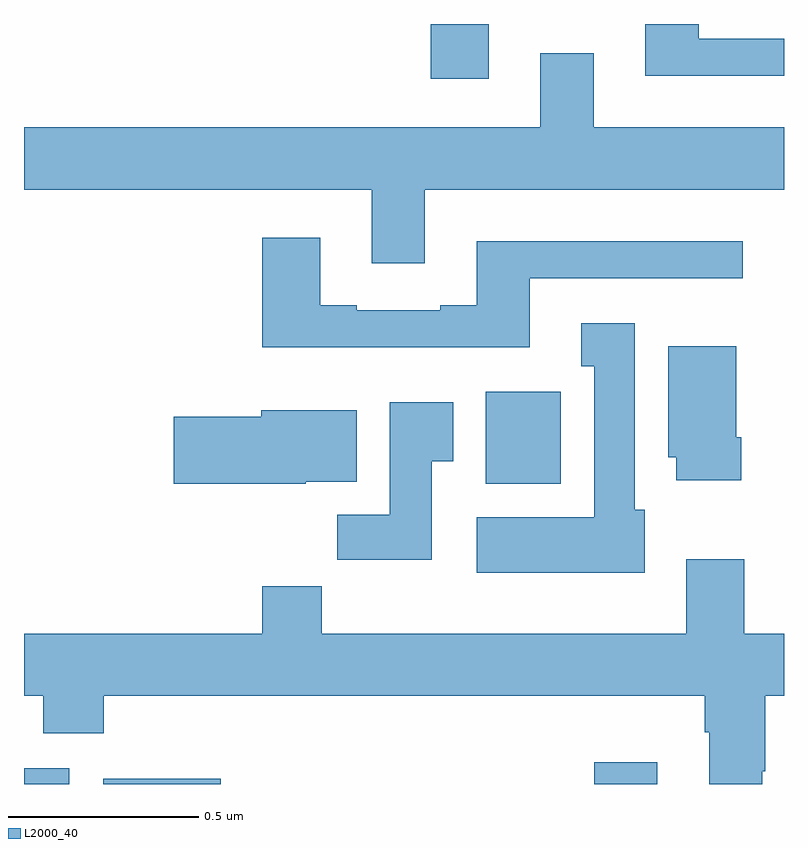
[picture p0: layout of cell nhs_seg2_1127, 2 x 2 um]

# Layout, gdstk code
import gdstk
lib = gdstk.Library(unit=1e-6, precision=1e-09)
def R(c, l, rs):  # rectangles x0, y0, x1, y1
    for r in rs: c.add(gdstk.rectangle(r[:2], r[2:], *l))
def P(c, l, *ps):  # polygons
    for p in ps: c.add(gdstk.Polygon(p, *l))
L2000_40 = (2000, 40)

nhs_seg2_1127 = lib.new_cell('nhs_seg2_1127')
R(nhs_seg2_1127, L2000_40, [(125,584.8,125.119,584.842), (125.208,584.8,125.518,584.814), (126.5,584.8,126.667,584.857), (126.215,585.59,126.412,585.832), (126.071,586.656,126.223,586.8)])
P(nhs_seg2_1127, L2000_40, [(127,586.761),(126.775,586.761),(126.775,586.8),(126.635,586.8),(126.635,586.664),(127,586.664)],
  [(126.055,586.364),(127,586.364),(127,586.528),(126.499,586.528),(126.499,586.723),(126.359,586.723),(126.359,586.528),(125,586.528),(125,586.364),(125.915,586.364),(125.915,586.17),(126.055,586.17)],
  [(126.331,586.131),(126.892,586.131),(126.892,586.228),(126.191,586.228),(126.191,586.06),(126.095,586.06),(126.095,586.047),(125.875,586.047),(125.875,586.06),(125.779,586.06),(125.779,586.237),(125.627,586.237),(125.627,585.95),(126.331,585.95)],
  [(126.634,585.522),(126.607,585.522),(126.607,586.012),(126.467,586.012),(126.467,585.899),(126.5,585.899),(126.5,585.502),(126.191,585.502),(126.191,585.356),(126.634,585.356)],
  [(126.887,585.712),(126.874,585.712),(126.874,585.952),(126.695,585.952),(126.695,585.66),(126.716,585.66),(126.716,585.6),(126.887,585.6)],
  [(126.073,585.649),(126.13,585.649),(126.13,585.805),(125.963,585.805),(125.963,585.508),(125.824,585.508),(125.824,585.39),(126.073,585.39)],
  [(125.742,585.596),(125.875,585.596),(125.875,585.784),(125.624,585.784),(125.624,585.767),(125.394,585.767),(125.394,585.59),(125.742,585.59)],
  [(126.943,584.833),(126.951,584.833),(126.951,585.032),(127,585.032),(127,585.196),(126.896,585.196),(126.896,585.391),(126.743,585.391),(126.743,585.196),(125.783,585.196),(125.783,585.32),(125.627,585.32),(125.627,585.196),(125,585.196),(125,585.032),(125.05,585.032),(125.05,584.933),(125.21,584.933),(125.21,585.032),(126.791,585.032),(126.791,584.936),(126.803,584.936),(126.803,584.8),(126.943,584.8)])

lib.write_gds('nhs_seg2_1127.gds')
